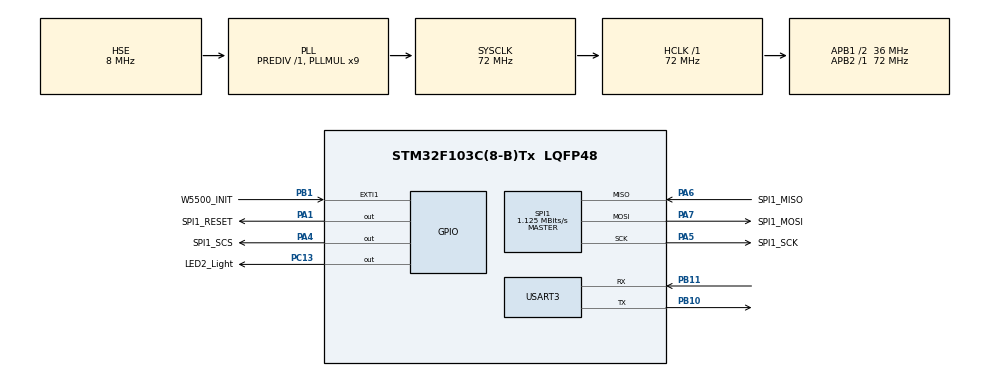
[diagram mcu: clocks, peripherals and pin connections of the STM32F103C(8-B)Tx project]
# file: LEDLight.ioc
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Dma.Request0=USART3_RX
Dma.Request1=USART3_TX
Dma.USART3_RX.0.Direction=DMA_PERIPH_TO_MEMORY
Dma.USART3_RX.0.Instance=DMA1_Channel3
Dma.USART3_RX.0.MemDataAlignment=DMA_MDATAALIGN_BYTE
Dma.USART3_RX.0.MemInc=DMA_MINC_ENABLE
Dma.USART3_RX.0.Mode=DMA_NORMAL
Dma.USART3_RX.0.PeriphDataAlignment=DMA_PDATAALIGN_BYTE
Dma.USART3_RX.0.PeriphInc=DMA_PINC_DISABLE
Dma.USART3_RX.0.Priority=DMA_PRIORITY_MEDIUM
Dma.USART3_TX.1.Direction=DMA_MEMORY_TO_PERIPH
Dma.USART3_TX.1.Instance=DMA1_Channel2
Dma.USART3_TX.1.MemDataAlignment=DMA_MDATAALIGN_BYTE
Dma.USART3_TX.1.MemInc=DMA_MINC_ENABLE
Dma.USART3_TX.1.Mode=DMA_NORMAL
Dma.USART3_TX.1.PeriphDataAlignment=DMA_PDATAALIGN_BYTE
Dma.USART3_TX.1.PeriphInc=DMA_PINC_DISABLE
Dma.USART3_TX.1.Priority=DMA_PRIORITY_MEDIUM
FREERTOS.Tasks01=defaultTask,0,128,StartDefaultTask,Default,NULL,Dynamic,NULL,NULL;LED2Task,-3,128,StartLED2Task,Default,NULL,Dynamic,NULL,NULL;USART3Task,-3,128,StartUSART3Task,Default,NULL,Dynamic,NULL,NULL
FREERTOS.configUSE_TICK_HOOK=1
IWDG.Prescaler=IWDG_PRESCALER_32
IWDG.Reload=1156
Mcu.Family=STM32F1
Mcu.Name=STM32F103C(8-B)Tx
Mcu.Package=LQFP48
NVIC.DMA1_Channel2_IRQn=true\:5\:0\:false\:false\:true\:true\:false
NVIC.DMA1_Channel3_IRQn=true\:5\:0\:false\:false\:true\:true\:false
NVIC.PriorityGroup=NVIC_PRIORITYGROUP_4
NVIC.SPI1_IRQn=true\:5\:0\:false\:false\:true\:true\:true
NVIC.TIM1_UP_IRQn=true\:5\:0\:false\:false\:true\:true\:true
NVIC.TIM4_IRQn=true\:0\:0\:false\:false\:true\:false\:false
NVIC.TimeBase=TIM4_IRQn
NVIC.TimeBaseIP=TIM4
NVIC.USART3_IRQn=true\:5\:0\:false\:false\:true\:true\:true
PA1.GPIO_Label=SPI1_RESET
PA1.GPIO_PuPd=GPIO_PULLUP
PA1.Signal=GPIO_Output
PA13.Mode=Serial_Wire
PA13.Signal=SYS_JTMS-SWDIO
PA14.Mode=Serial_Wire
PA14.Signal=SYS_JTCK-SWCLK
PA4.GPIO_Label=SPI1_SCS
PA4.GPIO_ModeDefaultOutputPP=GPIO_MODE_OUTPUT_PP
PA4.GPIO_PuPd=GPIO_PULLUP
PA4.Signal=GPIO_Output
PA5.GPIO_Label=SPI1_SCK
PA5.Mode=Full_Duplex_Master
PA5.Signal=SPI1_SCK
PA6.GPIO_Label=SPI1_MISO
PA6.GPIO_Mode=GPIO_MODE_INPUT
PA6.Mode=Full_Duplex_Master
PA6.Signal=SPI1_MISO
PA7.GPIO_Label=SPI1_MOSI
PA7.Mode=Full_Duplex_Master
PA7.Signal=SPI1_MOSI
PB1.GPIO_Label=W5500_INIT
PB1.GPIO_ModeDefaultEXTI=GPIO_MODE_IT_RISING_FALLING
PB1.GPIO_PuPd=GPIO_PULLUP
PB1.Signal=GPXTI1
PB10.Mode=Asynchronous
PB10.Signal=USART3_TX
PB11.Mode=Asynchronous
PB11.Signal=USART3_RX
PC13-TAMPER-RTC.GPIO_Label=LED2_Light
PC13-TAMPER-RTC.GPIO_Speed=GPIO_SPEED_FREQ_HIGH
PC13-TAMPER-RTC.PinState=GPIO_PIN_SET
PC13-TAMPER-RTC.Signal=GPIO_Output
PC14-OSC32_IN.Mode=LSE-External-Oscillator
PC14-OSC32_IN.Signal=RCC_OSC32_IN
PC15-OSC32_OUT.Mode=LSE-External-Oscillator
PC15-OSC32_OUT.Signal=RCC_OSC32_OUT
PD0-OSC_IN.Mode=HSE-External-Oscillator
PD0-OSC_IN.Signal=RCC_OSC_IN
PD1-OSC_OUT.Mode=HSE-External-Oscillator
PD1-OSC_OUT.Signal=RCC_OSC_OUT
ProjectManager.HeapSize=0x200
ProjectManager.StackSize=0x400
ProjectManager.TargetToolchain=EWARM V8
RCC.AHBFreq_Value=72000000
RCC.APB1CLKDivider=RCC_HCLK_DIV2
RCC.APB1Freq_Value=36000000
RCC.APB1TimFreq_Value=72000000
RCC.APB2Freq_Value=72000000
RCC.APB2TimFreq_Value=72000000
RCC.HCLKFreq_Value=72000000
RCC.PLLMUL=RCC_PLL_MUL9
RCC.PLLSourceVirtual=RCC_PLLSOURCE_HSE
RCC.SYSCLKFreq_VALUE=72000000
RCC.SYSCLKSource=RCC_SYSCLKSOURCE_PLLCLK
RCC.USBFreq_Value=72000000
SPI1.BaudRatePrescaler=SPI_BAUDRATEPRESCALER_64
SPI1.CLKPolarity=SPI_POLARITY_LOW
SPI1.CalculateBaudRate=1.125 MBits/s
SPI1.Direction=SPI_DIRECTION_2LINES
SPI1.Mode=SPI_MODE_MASTER
SPI1.VirtualType=VM_MASTER
TIM1.Period=1000
TIM1.Prescaler=72
USART3.VirtualMode=VM_ASYNC
VP_FREERTOS_VS_ENABLE.Mode=Enabled
VP_IWDG_VS_IWDG.Mode=IWDG_Activate
VP_SYS_VS_tim4.Mode=TIM4
VP_TIM1_VS_ClockSourceINT.Mode=Internal
board=custom

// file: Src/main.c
/**
  ******************************************************************************
  * @file           : main.c
  * @brief          : Main program body
  ******************************************************************************
  * This notice applies to any and all portions of this file
  * that are not between comment pairs USER CODE BEGIN and
  * USER CODE END. Other portions of this file, whether
  * inserted by the user or by software development tools
  * are owned by their respective copyright owners.
  *
  * Copyright (c) 2020 STMicroelectronics International N.V.
  * All rights reserved.
  *
  * Redistribution and use in source and binary forms, with or without
  * modification, are permitted, provided that the following conditions are met:
  *
  * 1. Redistribution of source code must retain the above copyright notice,
  *    this list of conditions and the following disclaimer.
  * 2. Redistributions in binary form must reproduce the above copyright notice,
  *    this list of conditions and the following disclaimer in the documentation
  *    and/or other materials provided with the distribution.
  * 3. Neither the name of STMicroelectronics nor the names of other
  *    contributors to this software may be used to endorse or promote products
  *    derived from this software without specific written permission.
  * 4. This software, including modifications and/or derivative works of this
  *    software, must execute solely and exclusively on microcontroller or
  *    microprocessor devices manufactured by or for STMicroelectronics.
  * 5. Redistribution and use of this software other than as permitted under
  *    this license is void and will automatically terminate your rights under
  *    this license.
  *
  * THIS SOFTWARE IS PROVIDED BY STMICROELECTRONICS AND CONTRIBUTORS "AS IS"
  * AND ANY EXPRESS, IMPLIED OR STATUTORY WARRANTIES, INCLUDING, BUT NOT
  * LIMITED TO, THE IMPLIED WARRANTIES OF MERCHANTABILITY, FITNESS FOR A
  * PARTICULAR PURPOSE AND NON-INFRINGEMENT OF THIRD PARTY INTELLECTUAL PROPERTY
  * RIGHTS ARE DISCLAIMED TO THE FULLEST EXTENT PERMITTED BY LAW. IN NO EVENT
  * SHALL STMICROELECTRONICS OR CONTRIBUTORS BE LIABLE FOR ANY DIRECT, INDIRECT,
  * INCIDENTAL, SPECIAL, EXEMPLARY, OR CONSEQUENTIAL DAMAGES (INCLUDING, BUT NOT
  * LIMITED TO, PROCUREMENT OF SUBSTITUTE GOODS OR SERVICES; LOSS OF USE, DATA,
  * OR PROFITS; OR BUSINESS INTERRUPTION) HOWEVER CAUSED AND ON ANY THEORY OF
  * LIABILITY, WHETHER IN CONTRACT, STRICT LIABILITY, OR TORT (INCLUDING
  * NEGLIGENCE OR OTHERWISE) ARISING IN ANY WAY OUT OF THE USE OF THIS SOFTWARE,
  * EVEN IF ADVISED OF THE POSSIBILITY OF SUCH DAMAGE.
  *
  ******************************************************************************
  */
#include "main.h"
#include "stm32f1xx_hal.h"
#include "cmsis_os.h"
#include "dma.h"
#include "iwdg.h"
#include "spi.h"
#include "tim.h"
#include "usart.h"
#include "gpio.h"

/* USER CODE BEGIN PV */
/* Private variables ---------------------------------------------------------*/
extern UART_STR   Uart1_Str,Uart2_Str,Uart3_Str;
/* USER CODE END PV */

void SystemClock_Config(void);
void MX_FREERTOS_Init(void);

/* USER CODE BEGIN PFP */
/* Private function prototypes -----------------------------------------------*/

/* USER CODE END PFP */

/* USER CODE BEGIN 0 */
volatile unsigned int Timer1_Counter=0; //Timer1定时器计数变�??????(ms)
/* USER CODE END 0 */

int main(void)
{

  /* MCU Configuration----------------------------------------------------------*/

  /* Reset of all peripherals, Initializes the Flash interface and the Systick. */
  HAL_Init();

  /* Configure the system clock */
  SystemClock_Config();

  /* Initialize all configured peripherals */
  MX_GPIO_Init();
  MX_DMA_Init();
  MX_SPI1_Init();
  MX_USART3_UART_Init();
  MX_IWDG_Init();
  MX_TIM1_Init();
  /* USER CODE BEGIN 2 */
	 __HAL_UART_ENABLE_IT(&huart3, UART_IT_IDLE); /* �????启空闲中�???? */
    // 接收DMA通道关联缓冲�??????
	HAL_UART_Receive_DMA(&huart3, Uart3_Str.Uart_RecvBuff, UART_BUFFSIZE);
    // 以下这两个中断最好关掉，不然debug的时候会莫名其妙进中断，DMA发�?�不�??????
	__HAL_UART_DISABLE_IT(&huart3, UART_IT_ERR);
  __HAL_UART_DISABLE_IT(&huart3, UART_IT_PE);
  HAL_TIM_Base_Start_IT(&htim1);
  Load_Net_Parameters();
  W5500_Hardware_Reset();
  W5500_Initialization();
  /* USER CODE END 2 */

  /* Call init function for freertos objects (in freertos.c) */
  MX_FREERTOS_Init();

  /* Start scheduler */
  osKernelStart();

  /* We should never get here as control is now taken by the scheduler */

  /* Infinite loop */
  while (1)
  {

  }

}

void SystemClock_Config(void)
{

  RCC_OscInitTypeDef RCC_OscInitStruct;
  RCC_ClkInitTypeDef RCC_ClkInitStruct;

    /**Initializes the CPU, AHB and APB busses clocks
    */
  RCC_OscInitStruct.OscillatorType = RCC_OSCILLATORTYPE_LSI|RCC_OSCILLATORTYPE_HSE;
  RCC_OscInitStruct.HSEState = RCC_HSE_ON;
  RCC_OscInitStruct.HSEPredivValue = RCC_HSE_PREDIV_DIV1;
  RCC_OscInitStruct.HSIState = RCC_HSI_ON;
  RCC_OscInitStruct.LSIState = RCC_LSI_ON;
  RCC_OscInitStruct.PLL.PLLState = RCC_PLL_ON;
  RCC_OscInitStruct.PLL.PLLSource = RCC_PLLSOURCE_HSE;
  RCC_OscInitStruct.PLL.PLLMUL = RCC_PLL_MUL9;
  if (HAL_RCC_OscConfig(&RCC_OscInitStruct) != HAL_OK)
  {
    _Error_Handler(__FILE__, __LINE__);
  }

    /**Initializes the CPU, AHB and APB busses clocks
    */
  RCC_ClkInitStruct.ClockType = RCC_CLOCKTYPE_HCLK|RCC_CLOCKTYPE_SYSCLK
                              |RCC_CLOCKTYPE_PCLK1|RCC_CLOCKTYPE_PCLK2;
  RCC_ClkInitStruct.SYSCLKSource = RCC_SYSCLKSOURCE_PLLCLK;
  RCC_ClkInitStruct.AHBCLKDivider = RCC_SYSCLK_DIV1;
  RCC_ClkInitStruct.APB1CLKDivider = RCC_HCLK_DIV2;
  RCC_ClkInitStruct.APB2CLKDivider = RCC_HCLK_DIV1;

  if (HAL_RCC_ClockConfig(&RCC_ClkInitStruct, FLASH_LATENCY_2) != HAL_OK)
  {
    _Error_Handler(__FILE__, __LINE__);
  }

    /**Configure the Systick interrupt time
    */
  HAL_SYSTICK_Config(HAL_RCC_GetHCLKFreq()/1000);

    /**Configure the Systick
    */
  HAL_SYSTICK_CLKSourceConfig(SYSTICK_CLKSOURCE_HCLK);

  /* SysTick_IRQn interrupt configuration */
  HAL_NVIC_SetPriority(SysTick_IRQn, 15, 0);
}

void HAL_TIM_PeriodElapsedCallback(TIM_HandleTypeDef *htim)
{
  /* USER CODE BEGIN Callback 0 */
  // HAL_TIM_Base_Start_IT(&htim1); //使用定时器的时�?�调用这个函数启�???
  // HAL_TIM_Base_Stop_IT(&htim1);  //停止定时器的时�?�调用这个函数关�???
    if(htim->Instance == TIM1){
    //编写回调逻辑，即定时�???1定时1MS后的逻辑
    Timer1_Counter++;
  }
  /* USER CODE END Callback 0 */
  if (htim->Instance == TIM4) {
    HAL_IncTick();
  }
}

void _Error_Handler(char *file, int line)
{
  while(1)
  {
  }
}

/************************ (C) COPYRIGHT STMicroelectronics *****END OF FILE****/

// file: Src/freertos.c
/* USER CODE BEGIN Header */
/**
  ******************************************************************************
  * File Name          : freertos.c
  * Description        : Code for freertos applications
  ******************************************************************************
  * This notice applies to any and all portions of this file
  * that are not between comment pairs USER CODE BEGIN and
  * USER CODE END. Other portions of this file, whether
  * inserted by the user or by software development tools
  * are owned by their respective copyright owners.
  *
  * Copyright (c) 2020 STMicroelectronics International N.V.
  * All rights reserved.
  *
  * Redistribution and use in source and binary forms, with or without
  * modification, are permitted, provided that the following conditions are met:
  *
  * 1. Redistribution of source code must retain the above copyright notice,
  *    this list of conditions and the following disclaimer.
  * 2. Redistributions in binary form must reproduce the above copyright notice,
  *    this list of conditions and the following disclaimer in the documentation
  *    and/or other materials provided with the distribution.
  * 3. Neither the name of STMicroelectronics nor the names of other
  *    contributors to this software may be used to endorse or promote products
  *    derived from this software without specific written permission.
  * 4. This software, including modifications and/or derivative works of this
  *    software, must execute solely and exclusively on microcontroller or
  *    microprocessor devices manufactured by or for STMicroelectronics.
  * 5. Redistribution and use of this software other than as permitted under
  *    this license is void and will automatically terminate your rights under
  *    this license.
  *
  * THIS SOFTWARE IS PROVIDED BY STMICROELECTRONICS AND CONTRIBUTORS "AS IS"
  * AND ANY EXPRESS, IMPLIED OR STATUTORY WARRANTIES, INCLUDING, BUT NOT
  * LIMITED TO, THE IMPLIED WARRANTIES OF MERCHANTABILITY, FITNESS FOR A
  * PARTICULAR PURPOSE AND NON-INFRINGEMENT OF THIRD PARTY INTELLECTUAL PROPERTY
  * RIGHTS ARE DISCLAIMED TO THE FULLEST EXTENT PERMITTED BY LAW. IN NO EVENT
  * SHALL STMICROELECTRONICS OR CONTRIBUTORS BE LIABLE FOR ANY DIRECT, INDIRECT,
  * INCIDENTAL, SPECIAL, EXEMPLARY, OR CONSEQUENTIAL DAMAGES (INCLUDING, BUT NOT
  * LIMITED TO, PROCUREMENT OF SUBSTITUTE GOODS OR SERVICES; LOSS OF USE, DATA,
  * OR PROFITS; OR BUSINESS INTERRUPTION) HOWEVER CAUSED AND ON ANY THEORY OF
  * LIABILITY, WHETHER IN CONTRACT, STRICT LIABILITY, OR TORT (INCLUDING
  * NEGLIGENCE OR OTHERWISE) ARISING IN ANY WAY OUT OF THE USE OF THIS SOFTWARE,
  * EVEN IF ADVISED OF THE POSSIBILITY OF SUCH DAMAGE.
  *
  ******************************************************************************
  */
/* USER CODE END Header */

#include "FreeRTOS.h"
#include "task.h"
#include "main.h"
#include "cmsis_os.h"

/* USER CODE BEGIN Includes */
#include "stm32f1xx.h"
#include "usart.h"
#include "w5500.h"
#include "iwdg.h"
/* USER CODE END Includes */

osThreadId defaultTaskHandle;
osThreadId LED2TaskHandle;
osThreadId USART3TaskHandle;

void StartDefaultTask(void const * argument);
void StartLED2Task(void const * argument);
void StartUSART3Task(void const * argument);

void MX_FREERTOS_Init(void); /* (MISRA C 2004 rule 8.1) */

/* Hook prototypes */
void vApplicationTickHook(void);

/* USER CODE BEGIN 3 */
__weak void vApplicationTickHook( void )
{
   /* This function will be called by each tick interrupt if
   configUSE_TICK_HOOK is set to 1 in FreeRTOSConfig.h. User code can be
   added here, but the tick hook is called from an interrupt context, so
   code must not attempt to block, and only the interrupt safe FreeRTOS API
   functions can be used (those that end in FromISR()). */
}
/* USER CODE END 3 */

void MX_FREERTOS_Init(void) {

  /* Create the thread(s) */
  /* definition and creation of defaultTask */
  osThreadDef(defaultTask, StartDefaultTask, osPriorityNormal, 0, 128);
  defaultTaskHandle = osThreadCreate(osThread(defaultTask), NULL);

  /* definition and creation of LED2Task */
  osThreadDef(LED2Task, StartLED2Task, osPriorityIdle, 0, 128);
  LED2TaskHandle = osThreadCreate(osThread(LED2Task), NULL);

  /* definition and creation of USART3Task */
  osThreadDef(USART3Task, StartUSART3Task, osPriorityIdle, 0, 128);
  USART3TaskHandle = osThreadCreate(osThread(USART3Task), NULL);

}

void StartDefaultTask(void const * argument)
{

  /* USER CODE BEGIN StartDefaultTask */
  /* Infinite loop */
  for(;;)
  {
    // W5500ProcessMessageF();
    osDelay(1);
  }
  /* USER CODE END StartDefaultTask */
}

void StartLED2Task(void const * argument)
{
  /* USER CODE BEGIN StartLED2Task */
  /* Infinite loop */
  for(;;)
  {
    HAL_GPIO_TogglePin(LED2_Light_GPIO_Port, LED2_Light_Pin);
    HAL_Delay(100);
    char receive_buf[200];
    memset(receive_buf, 0, sizeof(receive_buf)/sizeof(receive_buf[0]));

    Uart3_DMA_Sent(receive_buf, Get_Uart_Data(USART3, receive_buf, sizeof(receive_buf)/sizeof(receive_buf[0])));
  }
  /* USER CODE END StartLED2Task */
}

void StartUSART3Task(void const * argument)
{
  /* USER CODE BEGIN StartUSART3Task */
  /* Infinite loop */
  for(;;)
  {
    char data_buf[] = {"hello world test \r\n"};
    // Uart3_DMA_Sent(data_buf, sizeof(data_buf)/sizeof(data_buf[0]));
    HAL_IWDG_Refresh(&hiwdg);/* 喂狗 */
    HAL_Delay(1);
  }
  /* USER CODE END StartUSART3Task */
}

/************************ (C) COPYRIGHT STMicroelectronics *****END OF FILE****/
